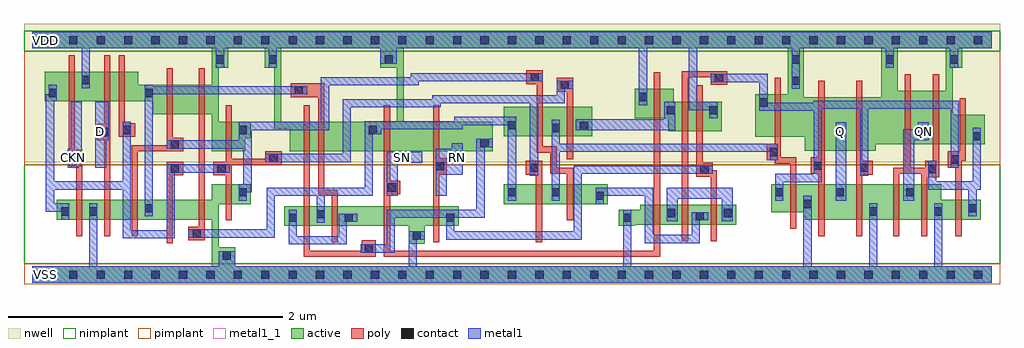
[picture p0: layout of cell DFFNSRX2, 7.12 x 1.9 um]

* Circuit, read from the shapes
.subckt DFFNSRX2 CKN D Q QN RN SN VDD VSS
M1 VSS CKN n1 VSS nfet w=0.145u l=0.045u
M2 n2 D VSS VSS nfet w=0.145u l=0.045u
M3 n3 n4 n2 VSS nfet w=0.145u l=0.045u
M4 n5 n1 n3 VSS nfet w=0.145u l=0.045u
M5 VSS n6 n5 VSS nfet w=0.145u l=0.045u
M6 n4 n1 VSS VSS nfet w=0.145u l=0.045u
M7 n6 n7 n8 VSS nfet w=0.145u l=0.045u
M8 n8 n3 n6 VSS nfet w=0.145u l=0.045u
M9 VSS SN n8 VSS nfet w=0.145u l=0.045u
M10 n7 RN VSS VSS nfet w=0.145u l=0.045u
M11 n9 n1 n6 VSS nfet w=0.145u l=0.045u
M12 n10 n4 n9 VSS nfet w=0.145u l=0.045u
M13 n11 SN VSS VSS nfet w=0.145u l=0.045u
M14 n10 n12 n11 VSS nfet w=0.145u l=0.045u
M15 n11 n7 n10 VSS nfet w=0.145u l=0.045u
M16 VSS n9 n12 VSS nfet w=0.205u l=0.045u
M17 Q n12 VSS VSS nfet w=0.26u l=0.045u m=2
M18 QN n13 VSS VSS nfet w=0.26u l=0.045u m=2
M19 n13 n12 VSS VSS nfet w=0.145u l=0.045u
M20 VDD CKN n1 VDD pfet w=0.215u l=0.045u
M21 n14 D VDD VDD pfet w=0.215u l=0.045u
M22 n3 n1 n14 VDD pfet w=0.215u l=0.045u
M23 n15 n4 n3 VDD pfet w=0.215u l=0.045u
M24 VDD n6 n15 VDD pfet w=0.215u l=0.045u
M25 n4 n1 VDD VDD pfet w=0.215u l=0.045u
M26 n16 n7 VDD VDD pfet w=0.215u l=0.045u
M27 n6 n3 n16 VDD pfet w=0.215u l=0.045u
M28 VDD SN n6 VDD pfet w=0.215u l=0.045u
M29 n7 RN VDD VDD pfet w=0.215u l=0.045u
M30 n9 n4 n6 VDD pfet w=0.215u l=0.045u
M31 n17 n1 n9 VDD pfet w=0.215u l=0.045u
M32 n17 SN VDD VDD pfet w=0.215u l=0.045u
M33 n18 n12 n17 VDD pfet w=0.215u l=0.045u
M34 VDD n7 n18 VDD pfet w=0.215u l=0.045u
M35 VDD n9 n12 VDD pfet w=0.31u l=0.045u
M36 Q n12 VDD VDD pfet w=0.39u l=0.045u m=2
M37 QN n13 VDD VDD pfet w=0.39u l=0.045u m=2
M38 n13 n12 VDD VDD pfet w=0.215u l=0.045u
.ends

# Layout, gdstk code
import gdstk
lib = gdstk.Library(unit=1e-6, precision=5e-10)
def R(c, l, rs):  # rectangles x0, y0, x1, y1
    for r in rs: c.add(gdstk.rectangle(r[:2], r[2:], *l))
def A(c, l, x, y, w, h, nx, ny, dx, dy):  # array of equal rectangles
    R(c, l, [(x+i*dx, y+j*dy, x+i*dx+w, y+j*dy+h) for i in range(nx) for j in range(ny)])
def P(c, l, *ps):  # polygons
    for p in ps: c.add(gdstk.Polygon(p, *l))
active = (1, 0)
nwell = (2, 0)
poly = (3, 0)
nimplant = (4, 0)
pimplant = (5, 0)
contact = (6, 0)
metal1 = (7, 0)
metal1_1 = (7, 1)

dffnsrx2 = lib.new_cell('DFFNSRX2')
R(dffnsrx2, active, [(3.44,0.515,4.2,0.66), (3.44,1.01,4.085,1.225)])
P(dffnsrx2, active, [(0,1.77),(7,1.77),(7,1.65),(6.785,1.65),(6.785,1.51),(6.715,1.51),(6.715,1.165),(6.95,1.165),(6.95,0.95),(6.155,0.95),(6.155,0.905),(5.635,0.905),(5.635,1.005),(5.275,1.005),(5.275,1.315),(5.51,1.315),(5.51,1.65),(5.63,1.65),(5.63,1.295),(6.195,1.295),(6.195,1.65),(6.315,1.65),(6.315,1.34),(6.665,1.34),(6.665,1.65),(2.71,1.65),(2.71,1.115),(3.36,1.115),(3.36,0.9),(1.88,0.9),(1.88,1.065),(1.765,1.065),(1.765,1.51),(1.695,1.51),(1.695,1.65),(1.815,1.65),(1.815,1.115),(2.66,1.115),(2.66,1.51),(2.54,1.51),(2.54,1.65),(1.43,1.65),(1.43,1.51),(1.36,1.51),(1.36,1.115),(1.595,1.115),(1.595,0.995),(1.555,0.995),(1.555,0.9),(1.31,0.9),(1.31,1.17),(0.88,1.17),(0.88,1.265),(0.09,1.265),(0.09,1.48),(0.775,1.48),(0.775,1.385),(1.31,1.385),(1.31,1.65),(0,1.65)],
  [(4.395,1.355),(4.68,1.355),(4.68,1.26),(5.03,1.26),(5.03,1.045),(4.64,1.045),(4.64,1.14),(4.395,1.14)],
  [(1.31,0.66),(1.595,0.66),(1.595,0.515),(1.36,0.515),(1.36,0.2),(1.48,0.2),(1.48,0.06),(7,0.06),(7,-0.06),(0,-0.06),(0,0.06),(1.31,0.06),(1.31,0.4),(0.18,0.4),(0.18,0.545),(1.31,0.545)],
  [(1.84,0.5),(3.11,0.5),(3.11,0.355),(2.865,0.355),(2.865,0.225),(2.745,0.225),(2.745,0.355),(1.84,0.355)],
  [(4.435,0.51),(5.135,0.51),(5.135,0.365),(4.4,0.365),(4.4,0.355),(4.28,0.355),(4.28,0.475),(4.435,0.475)],
  [(5.39,0.66),(6.63,0.66),(6.63,0.545),(6.92,0.545),(6.92,0.4),(5.635,0.4),(5.635,0.455),(5.39,0.455)])
R(dffnsrx2, nwell, [(-0.06,0.82,7.06,1.83)])
P(dffnsrx2, poly, [(0.265,1.6),(0.31,1.6),(0.31,0.91),(0.365,0.91),(0.365,0.28),(0.32,0.28),(0.32,0.79),(0.265,0.79)],
  [(0.525,1.6),(0.57,1.6),(0.57,0.28),(0.525,0.28),(0.525,0.98),(0.47,0.98),(0.47,1.1),(0.525,1.1)],
  [(0.63,1.6),(0.675,1.6),(0.675,1.105),(0.75,1.105),(0.75,1.005),(0.63,1.005)],
  [(0.98,1.505),(1.025,1.505),(1.025,1),(1.1,1),(1.1,0.9),(0.77,0.9),(0.77,0.28),(0.725,0.28),(0.725,0.945),(0.98,0.945)],
  [(1.215,1.505),(1.26,1.505),(1.26,0.25),(1.14,0.25),(1.14,0.35),(1.215,0.35)],
  [(1.41,1.235),(1.455,1.235),(1.455,0.845),(1.7,0.845),(1.7,0.9),(1.82,0.9),(1.82,0.8),(1.455,0.8),(1.455,0.395),(1.41,0.395),(1.41,0.725),(1.32,0.725),(1.32,0.825),(1.41,0.825)],
  [(1.885,1.395),(2.13,1.395),(2.13,0.62),(2.23,0.62),(2.23,0.235),(2.185,0.235),(2.185,0.575),(2.085,0.575),(2.085,1.295),(1.885,1.295)],
  [(4.74,1.485),(5.07,1.485),(5.07,1.385),(4.95,1.385),(4.95,1.44),(4.785,1.44),(4.785,0.245),(4.74,0.245)],
  [(1.98,1.235),(2.025,1.235),(2.025,0.175),(2.405,0.175),(2.405,0.25),(2.505,0.25),(2.505,0.13),(1.98,0.13)],
  [(2.565,1.235),(2.61,1.235),(2.61,0.685),(2.685,0.685),(2.685,0.585),(2.61,0.585),(2.61,0.175),(4.535,0.175),(4.535,1.475),(4.58,1.475),(4.58,0.13),(2.565,0.13)],
  [(3.605,1.49),(3.725,1.49),(3.725,0.935),(3.825,0.935),(3.825,0.78),(3.945,0.78),(3.945,0.395),(3.9,0.395),(3.9,0.735),(3.78,0.735),(3.78,0.89),(3.68,0.89),(3.68,1.39),(3.605,1.39)],
  [(3.825,1.435),(3.945,1.435),(3.945,0.84),(3.9,0.84),(3.9,1.335),(3.825,1.335)],
  [(2.925,1.235),(2.97,1.235),(2.97,0.85),(3.025,0.85),(3.025,0.73),(2.97,0.73),(2.97,0.235),(2.925,0.235)],
  [(4.845,1.38),(4.89,1.38),(4.89,0.815),(4.965,0.815),(4.965,0.76),(4.995,0.76),(4.995,0.245),(4.95,0.245),(4.95,0.715),(4.845,0.715)],
  [(5.415,1.435),(5.46,1.435),(5.46,0.855),(5.575,0.855),(5.575,0.335),(5.53,0.335),(5.53,0.81),(5.415,0.81),(5.415,0.835),(5.36,0.835),(5.36,0.955),(5.415,0.955)],
  [(5.735,1.415),(5.78,1.415),(5.78,0.28),(5.735,0.28),(5.735,0.735),(5.68,0.735),(5.68,0.855),(5.735,0.855)],
  [(6.01,1.415),(6.055,1.415),(6.055,0.83),(6.13,0.83),(6.13,0.73),(6.055,0.73),(6.055,0.28),(6.01,0.28)],
  [(6.365,1.46),(6.41,1.46),(6.41,0.78),(6.515,0.78),(6.515,0.83),(6.57,0.83),(6.57,1.46),(6.615,1.46),(6.615,0.71),(6.53,0.71),(6.53,0.28),(6.485,0.28),(6.485,0.735),(6.325,0.735),(6.325,0.28),(6.28,0.28),(6.28,0.78),(6.365,0.78)],
  [(6.765,1.285),(6.81,1.285),(6.81,0.83),(6.78,0.83),(6.78,0.28),(6.735,0.28),(6.735,0.78),(6.68,0.78),(6.68,0.9),(6.765,0.9)],
  [(3.6,0.83),(3.72,0.83),(3.72,0.235),(3.675,0.235),(3.675,0.73),(3.6,0.73)],
  [(0.98,0.825),(1.1,0.825),(1.1,0.725),(1.025,0.725),(1.025,0.23),(0.98,0.23)])
R(dffnsrx2, nimplant, [(-0.06,0.08,7.06,0.8), (-0.06,1.63,7.06,1.78)])
R(dffnsrx2, pimplant, [(-0.06,-0.07,7.06,0.08), (-0.06,0.8,7.06,1.63)])
A(dffnsrx2, contact, 0.07, -0.03, 0.06, 0.06, 35, 2, 0.2, 1.71)
R(dffnsrx2, contact, [(1.39,0.11,1.45,0.17), (2.425,0.16,2.485,0.22), (2.775,0.255,2.835,0.315), (1.17,0.27,1.23,0.33), (1.87,0.385,1.93,0.445), (2.28,0.385,2.34,0.445), (3.02,0.385,3.08,0.445), (4.31,0.385,4.37,0.445), (4.84,0.395,4.9,0.455), (2.075,0.41,2.135,0.47), (4.63,0.42,4.69,0.48), (5.045,0.42,5.105,0.48), (0.21,0.43,0.27,0.49), (0.415,0.43,0.475,0.49), (6.105,0.43,6.165,0.49), (6.58,0.43,6.64,0.49), (0.82,0.455,0.88,0.515), (6.83,0.455,6.89,0.515), (5.625,0.485,5.685,0.545), (4.11,0.545,4.17,0.605), (1.505,0.57,1.565,0.63), (3.47,0.57,3.53,0.63), (3.79,0.57,3.85,0.63), (5.42,0.57,5.48,0.63), (5.86,0.57,5.92,0.63), (6.375,0.57,6.435,0.63), (2.595,0.605,2.655,0.665), (4.875,0.735,4.935,0.795), (6.535,0.74,6.595,0.8), (1.01,0.745,1.07,0.805), (1.35,0.745,1.41,0.805), (3.63,0.75,3.69,0.81), (6.04,0.75,6.1,0.81), (2.945,0.76,3.005,0.82), (5.7,0.765,5.76,0.825), (6.7,0.81,6.76,0.87), (0.285,0.82,0.345,0.88), (1.73,0.82,1.79,0.88), (5.38,0.865,5.44,0.925), (1.01,0.92,1.07,0.98), (3.27,0.93,3.33,0.99), (6.86,0.98,6.92,1.04), (0.49,1.01,0.55,1.07), (5.86,1.01,5.92,1.07), (6.46,1.01,6.52,1.07), (0.66,1.025,0.72,1.085), (1.505,1.025,1.565,1.085), (2.455,1.025,2.515,1.085), (3.79,1.04,3.85,1.1), (3.995,1.055,4.055,1.115), (3.47,1.06,3.53,1.12), (4.63,1.17,4.69,1.23), (4.94,1.17,5,1.23), (5.305,1.225,5.365,1.285), (4.425,1.265,4.485,1.325), (0.12,1.295,0.18,1.355), (0.82,1.295,0.88,1.355), (1.915,1.315,1.975,1.375), (3.855,1.355,3.915,1.415), (5.54,1.385,5.6,1.445), (0.36,1.39,0.42,1.45), (4.98,1.405,5.04,1.465), (3.635,1.41,3.695,1.47), (1.34,1.54,1.4,1.6), (1.725,1.54,1.785,1.6), (2.57,1.54,2.63,1.6), (5.54,1.54,5.6,1.6), (6.225,1.54,6.285,1.6), (6.695,1.54,6.755,1.6)])
R(dffnsrx2, metal1, [(5.86,0.54,5.94,1.11)])
P(dffnsrx2, metal1, [(0,1.77),(7,1.77),(7,1.65),(6.755,1.65),(6.755,1.51),(6.695,1.51),(6.695,1.65),(6.285,1.65),(6.285,1.51),(6.225,1.51),(6.225,1.65),(5.6,1.65),(5.6,1.355),(5.54,1.355),(5.54,1.65),(4.85,1.65),(4.85,1.26),(5,1.26),(5,1.14),(4.94,1.14),(4.94,1.2),(4.79,1.2),(4.79,1.65),(4.485,1.65),(4.485,1.235),(4.425,1.235),(4.425,1.65),(2.66,1.65),(2.66,1.54),(2.54,1.54),(2.54,1.65),(1.785,1.65),(1.785,1.51),(1.725,1.51),(1.725,1.65),(1.4,1.65),(1.4,1.51),(1.34,1.51),(1.34,1.65),(0.42,1.65),(0.42,1.36),(0.36,1.36),(0.36,1.65),(0,1.65)],
  [(0.82,1.385),(0.88,1.385),(0.88,1.375),(2.005,1.375),(2.005,1.315),(0.88,1.315),(0.88,0.425),(0.82,0.425)],
  [(2.76,1.47),(3.725,1.47),(3.725,1.41),(2.82,1.41),(2.82,1.38),(2.165,1.38),(2.165,1.055),(1.6,1.055),(1.6,0.6),(1.565,0.6),(1.565,0.54),(1.505,0.54),(1.505,0.66),(1.54,0.66),(1.54,0.92),(0.98,0.92),(0.98,0.98),(1.505,0.98),(1.505,1.115),(2.105,1.115),(2.105,1.44),(2.76,1.44)],
  [(0.12,1.385),(0.18,1.385),(0.18,1.265),(0.16,1.265),(0.16,0.68),(0.66,0.68),(0.66,1.115),(0.72,1.115),(0.72,0.325),(0.98,0.325),(0.98,0.805),(1.44,0.805),(1.44,0.745),(1.04,0.745),(1.04,0.265),(0.66,0.265),(0.66,0.62),(0.16,0.62),(0.16,0.52),(0.27,0.52),(0.27,0.4),(0.21,0.4),(0.21,0.46),(0.1,0.46),(0.1,1.315),(0.12,1.315)],
  [(3.825,1.415),(3.945,1.415),(3.945,1.355),(3.885,1.355),(3.885,1.25),(3.69,1.25),(3.69,0.72),(3.63,0.72),(3.63,1.25),(2.98,1.25),(2.98,1.22),(2.325,1.22),(2.325,0.82),(1.7,0.82),(1.7,0.88),(2.265,0.88),(2.265,1.28),(2.92,1.28),(2.92,1.31),(3.825,1.31)],
  [(4.95,1.465),(5.365,1.465),(5.365,1.255),(5.7,1.255),(5.7,1.27),(6.76,1.27),(6.76,0.78),(6.7,0.78),(6.7,1.21),(6.1,1.21),(6.1,0.72),(6.04,0.72),(6.04,1.21),(5.76,1.21),(5.76,0.675),(5.48,0.675),(5.48,0.54),(5.42,0.54),(5.42,0.735),(5.7,0.735),(5.7,1.195),(5.305,1.195),(5.305,1.405),(4.95,1.405)],
  [(0.28,1.26),(0.36,1.26),(0.36,0.79),(0.34,0.79),(0.34,0.78),(0.26,0.78),(0.26,0.92),(0.28,0.92)],
  [(0.46,1.26),(0.56,1.26),(0.56,0.98),(0.54,0.98),(0.54,0.78),(0.46,0.78)],
  [(0.415,0.52),(0.475,0.52),(0.475,0.06),(1.36,0.06),(1.36,0.17),(1.48,0.17),(1.48,0.06),(2.745,0.06),(2.745,0.315),(2.865,0.315),(2.865,0.255),(2.805,0.255),(2.805,0.06),(4.31,0.06),(4.31,0.475),(4.37,0.475),(4.37,0.06),(5.625,0.06),(5.625,0.575),(5.685,0.575),(5.685,0.06),(6.105,0.06),(6.105,0.52),(6.165,0.52),(6.165,0.06),(6.58,0.06),(6.58,0.52),(6.64,0.52),(6.64,0.06),(7,0.06),(7,-0.06),(0,-0.06),(0,0.06),(0.415,0.06)],
  [(3.08,1.15),(3.53,1.15),(3.53,0.54),(3.47,0.54),(3.47,1.09),(3.14,1.09),(3.14,1.06),(2.545,1.06),(2.545,1.025),(2.485,1.025),(2.485,0.575),(2.135,0.575),(2.135,0.38),(2.075,0.38),(2.075,0.575),(1.77,0.575),(1.77,0.27),(1.14,0.27),(1.14,0.33),(1.71,0.33),(1.71,0.635),(2.425,0.635),(2.425,1.12),(3.08,1.12)],
  [(3.06,0.96),(3.14,0.96),(3.14,0.73),(3.025,0.73),(3.025,0.575),(2.945,0.575),(2.945,0.92),(3.06,0.92)],
  [(2.585,0.895),(2.845,0.895),(2.845,0.815),(2.665,0.815),(2.665,0.575),(2.585,0.575)],
  [(3.24,0.99),(3.36,0.99),(3.36,0.93),(3.3,0.93),(3.3,0.415),(3.08,0.415),(3.08,0.315),(3.95,0.315),(3.95,0.795),(4.965,0.795),(4.965,0.735),(4.01,0.735),(4.01,0.255),(3.02,0.255),(3.02,0.415),(2.645,0.415),(2.645,0.16),(2.395,0.16),(2.395,0.22),(2.585,0.22),(2.585,0.475),(3.24,0.475)],
  [(1.87,0.475),(1.93,0.475),(1.93,0.28),(2.235,0.28),(2.235,0.445),(2.37,0.445),(2.37,0.385),(2.295,0.385),(2.295,0.22),(1.87,0.22)],
  [(4.61,1.26),(4.69,1.26),(4.69,1.055),(3.965,1.055),(3.965,1.135),(4.61,1.135)],
  [(3.79,1.13),(3.85,1.13),(3.85,0.955),(5.44,0.955),(5.44,0.835),(5.38,0.835),(5.38,0.895),(3.85,0.895),(3.85,0.54),(3.79,0.54)],
  [(4.11,0.635),(4.53,0.635),(4.53,0.29),(4.81,0.29),(4.81,0.455),(4.93,0.455),(4.93,0.395),(4.87,0.395),(4.87,0.23),(4.47,0.23),(4.47,0.575),(4.17,0.575),(4.17,0.515),(4.11,0.515)],
  [(4.63,0.635),(5.11,0.635),(5.11,0.39),(5.03,0.39),(5.03,0.555),(4.71,0.555),(4.71,0.39),(4.63,0.39)],
  [(6.46,1.11),(6.54,1.11),(6.54,0.98),(6.435,0.98),(6.435,0.54),(6.355,0.54),(6.355,1.06),(6.46,1.06)],
  [(6.535,0.83),(6.595,0.83),(6.595,0.68),(6.86,0.68),(6.86,1.07),(6.92,1.07),(6.92,0.62),(6.89,0.62),(6.89,0.425),(6.83,0.425),(6.83,0.62),(6.535,0.62)])
R(dffnsrx2, metal1_1, [(0.06,-0.04,0.14,0.04), (0.26,0.815,0.34,0.895), (2.66,0.815,2.74,0.895), (3.06,0.815,3.14,0.895), (0.46,1.005,0.54,1.085), (5.86,1.005,5.94,1.085), (6.46,1.005,6.54,1.085), (0.06,1.67,0.14,1.75)])
dffnsrx2.add(gdstk.Label('QN', (6.5,1.045), layer=7, texttype=1))
dffnsrx2.add(gdstk.Label('Q', (5.9,1.045), layer=7, texttype=1))
dffnsrx2.add(gdstk.Label('D', (0.5,1.045), layer=7, texttype=1))
dffnsrx2.add(gdstk.Label('RN', (3.1,0.855), layer=7, texttype=1))
dffnsrx2.add(gdstk.Label('SN', (2.7,0.855), layer=7, texttype=1))
dffnsrx2.add(gdstk.Label('CKN', (0.3,0.855), layer=7, texttype=1))
dffnsrx2.add(gdstk.Label('VDD', (0.1,1.71), layer=7, texttype=1))
dffnsrx2.add(gdstk.Label('VSS', (0.1,0), layer=7, texttype=1))
dffnsrx2.add(gdstk.Label('DFFNSRX2', (0,0), layer=63, texttype=0))

lib.write_gds('DFFNSRX2.gds')
